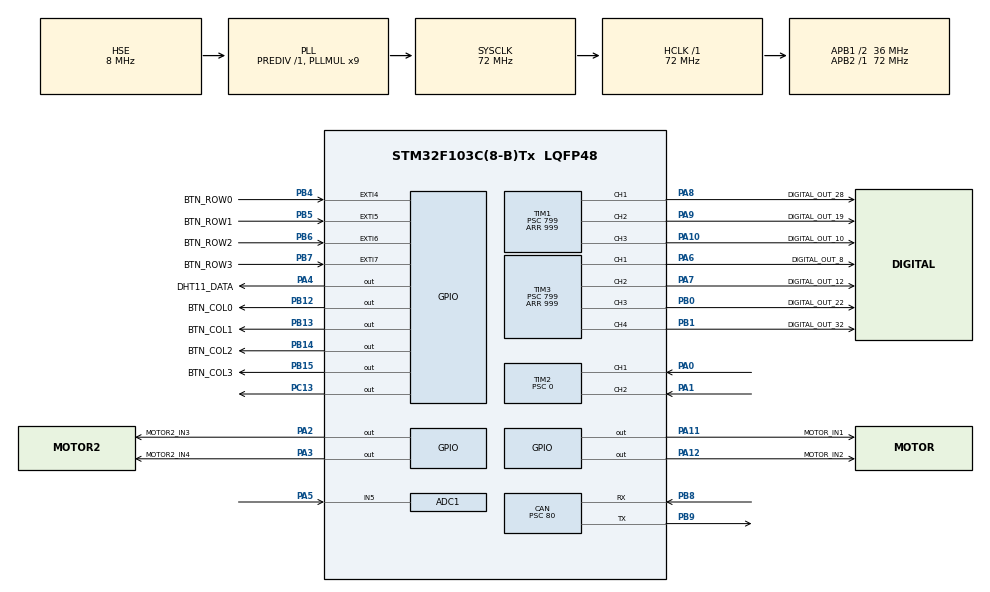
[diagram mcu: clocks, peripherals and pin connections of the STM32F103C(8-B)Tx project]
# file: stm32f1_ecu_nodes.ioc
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ADC1.Channel-3\#ChannelRegularConversion=ADC_CHANNEL_5
ADC1.ContinuousConvMode=ENABLE
ADC1.NbrOfConversionFlag=1
ADC1.Rank-3\#ChannelRegularConversion=1
ADC1.SamplingTime-3\#ChannelRegularConversion=ADC_SAMPLETIME_239CYCLES_5
ADC1.master=1
CAN.ABOM=DISABLE
CAN.BS1=CAN_BS1_5TQ
CAN.BS2=CAN_BS2_3TQ
CAN.CalculateBaudRate=50000
CAN.CalculateTimeBit=20000
CAN.CalculateTimeQuantum=2222.222222222222
CAN.Mode=CAN_MODE_NORMAL
CAN.NART=ENABLE
CAN.Prescaler=80
Dma.ADC1.0.Direction=DMA_PERIPH_TO_MEMORY
Dma.ADC1.0.Instance=DMA1_Channel1
Dma.ADC1.0.MemDataAlignment=DMA_MDATAALIGN_HALFWORD
Dma.ADC1.0.MemInc=DMA_MINC_ENABLE
Dma.ADC1.0.Mode=DMA_CIRCULAR
Dma.ADC1.0.PeriphDataAlignment=DMA_PDATAALIGN_HALFWORD
Dma.ADC1.0.PeriphInc=DMA_PINC_DISABLE
Dma.ADC1.0.Priority=DMA_PRIORITY_LOW
Dma.Request0=ADC1
FREERTOS.Tasks01=CANRxHandlerTask,24,128,CANRxHandler,Default,NULL,Dynamic,NULL,NULL;CANTxHandlerTask,24,128,CANTxHandler,Default,NULL,Dynamic,NULL,NULL
FREERTOS.configMAX_TASK_NAME_LEN=32
FREERTOS.configTOTAL_HEAP_SIZE=10000
FREERTOS.configUSE_MALLOC_FAILED_HOOK=1
Mcu.Family=STM32F1
Mcu.Name=STM32F103C(8-B)Tx
Mcu.Package=LQFP48
NVIC.DMA1_Channel1_IRQn=true\:5\:0\:false\:false\:true\:true\:false\:true\:true
NVIC.EXTI4_IRQn=true\:5\:0\:false\:false\:true\:true\:true\:true\:true
NVIC.EXTI9_5_IRQn=true\:5\:0\:false\:false\:true\:true\:true\:true\:true
NVIC.PriorityGroup=NVIC_PRIORITYGROUP_4
NVIC.TIM4_IRQn=true\:0\:0\:false\:false\:true\:false\:false\:true\:true
NVIC.TimeBase=TIM4_IRQn
NVIC.TimeBaseIP=TIM4
NVIC.USB_LP_CAN1_RX0_IRQn=true\:5\:0\:false\:false\:true\:true\:true\:true\:true
PA0-WKUP.Signal=S_TIM2_CH1_ETR
PA1.Signal=S_TIM2_CH2
PA10.GPIO_Label=DIGITAL_OUT_10
PA10.Signal=S_TIM1_CH3
PA11.GPIO_Label=MOTOR_IN1
PA11.Signal=GPIO_Output
PA12.GPIO_Label=MOTOR_IN2
PA12.Signal=GPIO_Output
PA13.Mode=Serial_Wire
PA13.Signal=SYS_JTMS-SWDIO
PA14.Mode=Serial_Wire
PA14.Signal=SYS_JTCK-SWCLK
PA2.GPIO_Label=MOTOR2_IN3
PA2.Signal=GPIO_Output
PA3.GPIO_Label=MOTOR2_IN4
PA3.Signal=GPIO_Output
PA4.GPIO_Label=DHT11_DATA
PA4.GPIO_ModeDefaultOutputPP=GPIO_MODE_OUTPUT_OD
PA4.GPIO_PuPd=GPIO_PULLUP
PA4.GPIO_Speed=GPIO_SPEED_FREQ_HIGH
PA4.PinState=GPIO_PIN_SET
PA4.Signal=GPIO_Output
PA5.Signal=ADCx_IN5
PA6.GPIO_Label=DIGITAL_OUT_8
PA6.Signal=S_TIM3_CH1
PA7.GPIO_Label=DIGITAL_OUT_12
PA7.Signal=S_TIM3_CH2
PA8.GPIO_Label=DIGITAL_OUT_28
PA8.Signal=S_TIM1_CH1
PA9.GPIO_Label=DIGITAL_OUT_19
PA9.Signal=S_TIM1_CH2
PB0.GPIO_Label=DIGITAL_OUT_22
PB0.Signal=S_TIM3_CH3
PB1.GPIO_Label=DIGITAL_OUT_32
PB1.Signal=S_TIM3_CH4
PB12.GPIO_Label=BTN_COL0
PB12.Signal=GPIO_Output
PB13.GPIO_Label=BTN_COL1
PB13.Signal=GPIO_Output
PB14.GPIO_Label=BTN_COL2
PB14.Signal=GPIO_Output
PB15.GPIO_Label=BTN_COL3
PB15.Signal=GPIO_Output
PB4.GPIO_Label=BTN_ROW0
PB4.GPIO_ModeDefaultEXTI=GPIO_MODE_IT_FALLING
PB4.GPIO_PuPd=GPIO_PULLUP
PB4.Signal=GPXTI4
PB5.GPIO_Label=BTN_ROW1
PB5.GPIO_ModeDefaultEXTI=GPIO_MODE_IT_FALLING
PB5.GPIO_PuPd=GPIO_PULLUP
PB5.Signal=GPXTI5
PB6.GPIO_Label=BTN_ROW2
PB6.GPIO_ModeDefaultEXTI=GPIO_MODE_IT_FALLING
PB6.GPIO_PuPd=GPIO_PULLUP
PB6.Signal=GPXTI6
PB7.GPIO_Label=BTN_ROW3
PB7.GPIO_ModeDefaultEXTI=GPIO_MODE_IT_FALLING
PB7.GPIO_PuPd=GPIO_PULLUP
PB7.Signal=GPXTI7
PB8.GPIO_PuPd=GPIO_PULLUP
PB8.Mode=CAN_Activate
PB8.Signal=CAN_RX
PB9.Mode=CAN_Activate
PB9.Signal=CAN_TX
PC13-TAMPER-RTC.Signal=GPIO_Output
PD0-OSC_IN.Mode=HSE-External-Oscillator
PD0-OSC_IN.Signal=RCC_OSC_IN
PD1-OSC_OUT.Mode=HSE-External-Oscillator
PD1-OSC_OUT.Signal=RCC_OSC_OUT
ProjectManager.HeapSize=0x200
ProjectManager.StackSize=0x400
ProjectManager.TargetToolchain=STM32CubeIDE
RCC.ADCPresc=RCC_ADCPCLK2_DIV6
RCC.AHBFreq_Value=72000000
RCC.APB1CLKDivider=RCC_HCLK_DIV2
RCC.APB1Freq_Value=36000000
RCC.APB1TimFreq_Value=72000000
RCC.APB2Freq_Value=72000000
RCC.APB2TimFreq_Value=72000000
RCC.HCLKFreq_Value=72000000
RCC.PLLMUL=RCC_PLL_MUL9
RCC.PLLSourceVirtual=RCC_PLLSOURCE_HSE
RCC.SYSCLKFreq_VALUE=72000000
RCC.SYSCLKSource=RCC_SYSCLKSOURCE_PLLCLK
RCC.USBFreq_Value=72000000
SH.ADCx_IN5.0=ADC1_IN5,IN5
SH.S_TIM1_CH1.0=TIM1_CH1,PWM Generation1 CH1
SH.S_TIM1_CH2.0=TIM1_CH2,PWM Generation2 CH2
SH.S_TIM1_CH3.0=TIM1_CH3,PWM Generation3 CH3
SH.S_TIM2_CH1_ETR.0=TIM2_CH1,Encoder_Interface
SH.S_TIM2_CH2.0=TIM2_CH2,Encoder_Interface
SH.S_TIM3_CH1.0=TIM3_CH1,PWM Generation1 CH1
SH.S_TIM3_CH2.0=TIM3_CH2,PWM Generation2 CH2
SH.S_TIM3_CH3.0=TIM3_CH3,PWM Generation3 CH3
SH.S_TIM3_CH4.0=TIM3_CH4,PWM Generation4 CH4
TIM1.Channel-PWM\ Generation1\ CH1=TIM_CHANNEL_1
TIM1.Channel-PWM\ Generation2\ CH2=TIM_CHANNEL_2
TIM1.Channel-PWM\ Generation3\ CH3=TIM_CHANNEL_3
TIM1.Period=999
TIM1.Prescaler=799
TIM2.AutoReloadPreload=TIM_AUTORELOAD_PRELOAD_ENABLE
TIM2.EncoderMode=TIM_ENCODERMODE_TI12
TIM2.Period=65535
TIM2.Prescaler=0
TIM3.Channel-PWM\ Generation1\ CH1=TIM_CHANNEL_1
TIM3.Channel-PWM\ Generation2\ CH2=TIM_CHANNEL_2
TIM3.Channel-PWM\ Generation3\ CH3=TIM_CHANNEL_3
TIM3.Channel-PWM\ Generation4\ CH4=TIM_CHANNEL_4
TIM3.Period=999
TIM3.Prescaler=799
VP_FREERTOS_VS_CMSIS_V2.Mode=CMSIS_V2
VP_SYS_VS_tim4.Mode=TIM4
VP_TIM1_VS_ClockSourceINT.Mode=Internal
VP_TIM3_VS_ClockSourceINT.Mode=Internal
board=custom

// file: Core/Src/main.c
/* USER CODE BEGIN Header */
/**
  ******************************************************************************
  * @file           : main.c
  * @brief          : Main program body
  ******************************************************************************
  * @attention
  *
  * <h2><center>&copy; Copyright (c) 2025 STMicroelectronics.
  * All rights reserved.</center></h2>
  *
  * This software component is licensed by ST under BSD 3-Clause license,
  * the "License"; You may not use this file except in compliance with the
  * License. You may obtain a copy of the License at:
  *                        opensource.org/licenses/BSD-3-Clause
  *
  ******************************************************************************
  */
/* USER CODE END Header */
#include "main.h"
#include "cmsis_os.h"

/* USER CODE BEGIN Includes */
#include "button.h"
#include "can.h"
#include "motor.h"
#include "buzzer.h"
#include <stdbool.h>
#include <string.h>
/* USER CODE END Includes */

ADC_HandleTypeDef hadc1;
DMA_HandleTypeDef hdma_adc1;

CAN_HandleTypeDef hcan;

TIM_HandleTypeDef htim1;
TIM_HandleTypeDef htim2;
TIM_HandleTypeDef htim3;

/* Definitions for CANRxHandlerTask */
osThreadId_t CANRxHandlerTaskHandle;
const osThreadAttr_t CANRxHandlerTask_attributes = {
  .name = "CANRxHandlerTask",
  .stack_size = 128 * 4,
  .priority = (osPriority_t) osPriorityNormal,
};
/* Definitions for CANTxHandlerTask */
osThreadId_t CANTxHandlerTaskHandle;
const osThreadAttr_t CANTxHandlerTask_attributes = {
  .name = "CANTxHandlerTask",
  .stack_size = 128 * 4,
  .priority = (osPriority_t) osPriorityNormal,
};
/* USER CODE BEGIN PV */
uint16_t potentiometer[TEN] = {0};

CAN_Frame canTxQueue[CAN_TX_QUEUE_SIZE];

Motor_Handle dc_motor;
Motor_Handle encoder_motor;
Buzzer_Handle buzzer;

volatile DigitalOutput_Resp_Frame digital_output_data[NUMBER_OF_DIG_OUT_RES_FRAME] = {0};
volatile DigitalInput_Resp_Frame digital_input_data[NUMBER_OF_DIG_IN_RES_FRAME] = {0};
volatile DigitalOutput_Cmd_Frame digital_output_cmd_data[NUMBER_OF_DIG_OUT_CMD_FRAME] = {0};
volatile AnalogInput_Resp_Frame analog_input_data[NUMBER_OF_ANALOG_IN_RES_FRAME] = {0};

CAN_RxFrame can_rx_frame;
/*Rotary Encoder Initial*/
static int32_t encoder_position = 0;
static uint16_t encoder_last_count = 32768;
volatile int32_t shared_encoder_speed = 0;

/* USER CODE END PV */

void SystemClock_Config(void);
static void MX_GPIO_Init(void);
static void MX_DMA_Init(void);
static void MX_CAN_Init(void);
static void MX_ADC1_Init(void);
static void MX_TIM1_Init(void);
static void MX_TIM3_Init(void);
static void MX_TIM2_Init(void);
void CANRxHandler(void *argument);
void CANTxHandler(void *argument);

/* USER CODE BEGIN PFP */
/**
  * @brief  Process Digital Output Commands
  * @param  cmd_data: Pointer to the Digital Output Command Frame
  *                                   containing the commands to process
  * @retval None
  */
void digital_output_process(volatile DigitalOutput_Cmd_Frame *cmd_data);

/* USER CODE END PFP */

/* USER CODE BEGIN 0 */
void HAL_CAN_RxFifo0MsgPendingCallback(CAN_HandleTypeDef *hcan) {
  HAL_CAN_GetRxMessage(hcan, CAN_RX_FIFO0, &can_rx_frame.header, can_rx_frame.data);
  // Process received CAN message
  CAN_process_command(&can_rx_frame, digital_output_cmd_data);
}

/* USER CODE END 0 */

int main(void)
{

  /* MCU Configuration--------------------------------------------------------*/

  /* Reset of all peripherals, Initializes the Flash interface and the Systick. */
  HAL_Init();

  /* Configure the system clock */
  SystemClock_Config();

  /* Initialize all configured peripherals */
  MX_GPIO_Init();
  MX_DMA_Init();
  MX_CAN_Init();
  MX_ADC1_Init();
  MX_TIM1_Init();
  MX_TIM3_Init();
  MX_TIM2_Init();
  /* USER CODE BEGIN 2 */
  HAL_TIM_PWM_Start(&htim1, TIM_CHANNEL_1);
  HAL_TIM_PWM_Start(&htim1, TIM_CHANNEL_2);
  HAL_TIM_PWM_Start(&htim1, TIM_CHANNEL_3);
  HAL_TIM_PWM_Start(&htim3, TIM_CHANNEL_1);
  HAL_TIM_PWM_Start(&htim3, TIM_CHANNEL_2);
  HAL_TIM_PWM_Start(&htim3, TIM_CHANNEL_3);
  HAL_TIM_PWM_Start(&htim3, TIM_CHANNEL_4);
  HAL_TIM_Encoder_Start(&htim2, TIM_CHANNEL_ALL);
  __HAL_TIM_SET_COUNTER(&htim2, 32768);  // Set center position

  Motor_Init(&dc_motor, &htim1, TIM_CHANNEL_1, GPIOA, GPIO_PIN_11, GPIOA, GPIO_PIN_12);
  Motor_SetDirection(&dc_motor, MOTOR_DIR_FORWARD);  // quay thuận
  Motor_Enable(&dc_motor, true);
  Buzzer_Init(&buzzer, &htim3);

  Motor_Init(&encoder_motor, &htim1, TIM_CHANNEL_2,
             GPIOA, MOTOR2_IN3_Pin,   // PA2
             GPIOA, MOTOR2_IN4_Pin);  // PA3
  Motor_SetDirection(&encoder_motor, MOTOR_DIR_FORWARD);
  Motor_Enable(&encoder_motor, true);

  HAL_CAN_Start(&hcan);
  HAL_CAN_ActivateNotification(&hcan, CAN_IT_RX_FIFO0_MSG_PENDING);

  HAL_ADC_Start_DMA(&hadc1, (uint32_t *)potentiometer, TEN);

  /* USER CODE END 2 */

  /* Init scheduler */
  osKernelInitialize();

  /* Create the thread(s) */
  /* creation of CANRxHandlerTask */
  CANRxHandlerTaskHandle = osThreadNew(CANRxHandler, NULL, &CANRxHandlerTask_attributes);

  /* creation of CANTxHandlerTask */
  CANTxHandlerTaskHandle = osThreadNew(CANTxHandler, NULL, &CANTxHandlerTask_attributes);

  /* Start scheduler */
  osKernelStart();

  /* We should never get here as control is now taken by the scheduler */

  /* Infinite loop */
  while (1)
  {

  }
}

void SystemClock_Config(void)
{
  RCC_OscInitTypeDef RCC_OscInitStruct = {0};
  RCC_ClkInitTypeDef RCC_ClkInitStruct = {0};
  RCC_PeriphCLKInitTypeDef PeriphClkInit = {0};

  /** Initializes the RCC Oscillators according to the specified parameters
  * in the RCC_OscInitTypeDef structure.
  */
  RCC_OscInitStruct.OscillatorType = RCC_OSCILLATORTYPE_HSE;
  RCC_OscInitStruct.HSEState = RCC_HSE_ON;
  RCC_OscInitStruct.HSEPredivValue = RCC_HSE_PREDIV_DIV1;
  RCC_OscInitStruct.HSIState = RCC_HSI_ON;
  RCC_OscInitStruct.PLL.PLLState = RCC_PLL_ON;
  RCC_OscInitStruct.PLL.PLLSource = RCC_PLLSOURCE_HSE;
  RCC_OscInitStruct.PLL.PLLMUL = RCC_PLL_MUL9;
  if (HAL_RCC_OscConfig(&RCC_OscInitStruct) != HAL_OK)
  {
    Error_Handler();
  }

  /** Initializes the CPU, AHB and APB buses clocks
  */
  RCC_ClkInitStruct.ClockType = RCC_CLOCKTYPE_HCLK|RCC_CLOCKTYPE_SYSCLK
                              |RCC_CLOCKTYPE_PCLK1|RCC_CLOCKTYPE_PCLK2;
  RCC_ClkInitStruct.SYSCLKSource = RCC_SYSCLKSOURCE_PLLCLK;
  RCC_ClkInitStruct.AHBCLKDivider = RCC_SYSCLK_DIV1;
  RCC_ClkInitStruct.APB1CLKDivider = RCC_HCLK_DIV2;
  RCC_ClkInitStruct.APB2CLKDivider = RCC_HCLK_DIV1;

  if (HAL_RCC_ClockConfig(&RCC_ClkInitStruct, FLASH_LATENCY_2) != HAL_OK)
  {
    Error_Handler();
  }
  PeriphClkInit.PeriphClockSelection = RCC_PERIPHCLK_ADC;
  PeriphClkInit.AdcClockSelection = RCC_ADCPCLK2_DIV6;
  if (HAL_RCCEx_PeriphCLKConfig(&PeriphClkInit) != HAL_OK)
  {
    Error_Handler();
  }
}

static void MX_ADC1_Init(void)
{

  ADC_ChannelConfTypeDef sConfig = {0};

  /** Common config
  */
  hadc1.Instance = ADC1;
  hadc1.Init.ScanConvMode = ADC_SCAN_DISABLE;
  hadc1.Init.ContinuousConvMode = ENABLE;
  hadc1.Init.DiscontinuousConvMode = DISABLE;
  hadc1.Init.ExternalTrigConv = ADC_SOFTWARE_START;
  hadc1.Init.DataAlign = ADC_DATAALIGN_RIGHT;
  hadc1.Init.NbrOfConversion = 1;
  if (HAL_ADC_Init(&hadc1) != HAL_OK)
  {
    Error_Handler();
  }

  /** Configure Regular Channel
  */
  sConfig.Channel = ADC_CHANNEL_5;
  sConfig.Rank = ADC_REGULAR_RANK_1;
  sConfig.SamplingTime = ADC_SAMPLETIME_239CYCLES_5;
  if (HAL_ADC_ConfigChannel(&hadc1, &sConfig) != HAL_OK)
  {
    Error_Handler();
  }

}

static void MX_CAN_Init(void)
{

  hcan.Instance = CAN1;
  hcan.Init.Prescaler = 80;
  hcan.Init.Mode = CAN_MODE_NORMAL;
  hcan.Init.SyncJumpWidth = CAN_SJW_1TQ;
  hcan.Init.TimeSeg1 = CAN_BS1_5TQ;
  hcan.Init.TimeSeg2 = CAN_BS2_3TQ;
  hcan.Init.TimeTriggeredMode = DISABLE;
  hcan.Init.AutoBusOff = DISABLE;
  hcan.Init.AutoWakeUp = DISABLE;
  hcan.Init.AutoRetransmission = ENABLE;
  hcan.Init.ReceiveFifoLocked = DISABLE;
  hcan.Init.TransmitFifoPriority = DISABLE;
  if (HAL_CAN_Init(&hcan) != HAL_OK)
  {
    Error_Handler();
  }
  /* USER CODE BEGIN CAN_Init 2 */
  CAN_FilterTypeDef canfilterconfig;

  canfilterconfig.FilterActivation = CAN_FILTER_ENABLE;
  canfilterconfig.FilterBank = 10;  // anything between 0 to SlaveStartFilterBank
  canfilterconfig.FilterFIFOAssignment = CAN_FILTER_FIFO0;
  canfilterconfig.FilterIdHigh = 0;
  canfilterconfig.FilterIdLow = 0x0000;
  canfilterconfig.FilterMaskIdHigh = 0;
  canfilterconfig.FilterMaskIdLow = 0x0000;
  canfilterconfig.FilterMode = CAN_FILTERMODE_IDMASK;
  canfilterconfig.FilterScale = CAN_FILTERSCALE_32BIT;
  canfilterconfig.SlaveStartFilterBank = 13;  // 13 to 27 are assigned to slave CAN (CAN 2) OR 0 to 12 are assgned to CAN1

  HAL_CAN_ConfigFilter(&hcan, &canfilterconfig);
  /* USER CODE END CAN_Init 2 */

}

static void MX_TIM1_Init(void)
{

  TIM_ClockConfigTypeDef sClockSourceConfig = {0};
  TIM_MasterConfigTypeDef sMasterConfig = {0};
  TIM_OC_InitTypeDef sConfigOC = {0};
  TIM_BreakDeadTimeConfigTypeDef sBreakDeadTimeConfig = {0};

  htim1.Instance = TIM1;
  htim1.Init.Prescaler = 799;
  htim1.Init.CounterMode = TIM_COUNTERMODE_UP;
  htim1.Init.Period = 999;
  htim1.Init.ClockDivision = TIM_CLOCKDIVISION_DIV1;
  htim1.Init.RepetitionCounter = 0;
  htim1.Init.AutoReloadPreload = TIM_AUTORELOAD_PRELOAD_DISABLE;
  if (HAL_TIM_Base_Init(&htim1) != HAL_OK)
  {
    Error_Handler();
  }
  sClockSourceConfig.ClockSource = TIM_CLOCKSOURCE_INTERNAL;
  if (HAL_TIM_ConfigClockSource(&htim1, &sClockSourceConfig) != HAL_OK)
  {
    Error_Handler();
  }
  if (HAL_TIM_PWM_Init(&htim1) != HAL_OK)
  {
    Error_Handler();
  }
  sMasterConfig.MasterOutputTrigger = TIM_TRGO_RESET;
  sMasterConfig.MasterSlaveMode = TIM_MASTERSLAVEMODE_DISABLE;
  if (HAL_TIMEx_MasterConfigSynchronization(&htim1, &sMasterConfig) != HAL_OK)
  {
    Error_Handler();
  }
  sConfigOC.OCMode = TIM_OCMODE_PWM1;
  sConfigOC.Pulse = 0;
  sConfigOC.OCPolarity = TIM_OCPOLARITY_HIGH;
  sConfigOC.OCNPolarity = TIM_OCNPOLARITY_HIGH;
  sConfigOC.OCFastMode = TIM_OCFAST_DISABLE;
  sConfigOC.OCIdleState = TIM_OCIDLESTATE_RESET;
  sConfigOC.OCNIdleState = TIM_OCNIDLESTATE_RESET;
  if (HAL_TIM_PWM_ConfigChannel(&htim1, &sConfigOC, TIM_CHANNEL_1) != HAL_OK)
  {
    Error_Handler();
  }
  if (HAL_TIM_PWM_ConfigChannel(&htim1, &sConfigOC, TIM_CHANNEL_2) != HAL_OK)
  {
    Error_Handler();
  }
  if (HAL_TIM_PWM_ConfigChannel(&htim1, &sConfigOC, TIM_CHANNEL_3) != HAL_OK)
  {
    Error_Handler();
  }
  sBreakDeadTimeConfig.OffStateRunMode = TIM_OSSR_DISABLE;
  sBreakDeadTimeConfig.OffStateIDLEMode = TIM_OSSI_DISABLE;
  sBreakDeadTimeConfig.LockLevel = TIM_LOCKLEVEL_OFF;
  sBreakDeadTimeConfig.DeadTime = 0;
  sBreakDeadTimeConfig.BreakState = TIM_BREAK_DISABLE;
  sBreakDeadTimeConfig.BreakPolarity = TIM_BREAKPOLARITY_HIGH;
  sBreakDeadTimeConfig.AutomaticOutput = TIM_AUTOMATICOUTPUT_DISABLE;
  if (HAL_TIMEx_ConfigBreakDeadTime(&htim1, &sBreakDeadTimeConfig) != HAL_OK)
  {
    Error_Handler();
  }
  HAL_TIM_MspPostInit(&htim1);

}

static void MX_TIM2_Init(void)
{

  TIM_Encoder_InitTypeDef sConfig = {0};
  TIM_MasterConfigTypeDef sMasterConfig = {0};

  htim2.Instance = TIM2;
  htim2.Init.Prescaler = 0;
  htim2.Init.CounterMode = TIM_COUNTERMODE_UP;
  htim2.Init.Period = 65535;
  htim2.Init.ClockDivision = TIM_CLOCKDIVISION_DIV1;
  htim2.Init.AutoReloadPreload = TIM_AUTORELOAD_PRELOAD_ENABLE;
  sConfig.EncoderMode = TIM_ENCODERMODE_TI12;
  sConfig.IC1Polarity = TIM_ICPOLARITY_RISING;
  sConfig.IC1Selection = TIM_ICSELECTION_DIRECTTI;
  sConfig.IC1Prescaler = TIM_ICPSC_DIV1;
  sConfig.IC1Filter = 0;
  sConfig.IC2Polarity = TIM_ICPOLARITY_RISING;
  sConfig.IC2Selection = TIM_ICSELECTION_DIRECTTI;
  sConfig.IC2Prescaler = TIM_ICPSC_DIV1;
  sConfig.IC2Filter = 0;
  if (HAL_TIM_Encoder_Init(&htim2, &sConfig) != HAL_OK)
  {
    Error_Handler();
  }
  sMasterConfig.MasterOutputTrigger = TIM_TRGO_RESET;
  sMasterConfig.MasterSlaveMode = TIM_MASTERSLAVEMODE_DISABLE;
  if (HAL_TIMEx_MasterConfigSynchronization(&htim2, &sMasterConfig) != HAL_OK)
  {
    Error_Handler();
  }

}

static void MX_TIM3_Init(void)
{

  TIM_ClockConfigTypeDef sClockSourceConfig = {0};
  TIM_MasterConfigTypeDef sMasterConfig = {0};
  TIM_OC_InitTypeDef sConfigOC = {0};

  htim3.Instance = TIM3;
  htim3.Init.Prescaler = 799;
  htim3.Init.CounterMode = TIM_COUNTERMODE_UP;
  htim3.Init.Period = 999;
  htim3.Init.ClockDivision = TIM_CLOCKDIVISION_DIV1;
  htim3.Init.AutoReloadPreload = TIM_AUTORELOAD_PRELOAD_DISABLE;
  if (HAL_TIM_Base_Init(&htim3) != HAL_OK)
  {
    Error_Handler();
  }
  sClockSourceConfig.ClockSource = TIM_CLOCKSOURCE_INTERNAL;
  if (HAL_TIM_ConfigClockSource(&htim3, &sClockSourceConfig) != HAL_OK)
  {
    Error_Handler();
  }
  if (HAL_TIM_PWM_Init(&htim3) != HAL_OK)
  {
    Error_Handler();
  }
  sMasterConfig.MasterOutputTrigger = TIM_TRGO_RESET;
  sMasterConfig.MasterSlaveMode = TIM_MASTERSLAVEMODE_DISABLE;
  if (HAL_TIMEx_MasterConfigSynchronization(&htim3, &sMasterConfig) != HAL_OK)
  {
    Error_Handler();
  }
  sConfigOC.OCMode = TIM_OCMODE_PWM1;
  sConfigOC.Pulse = 0;
  sConfigOC.OCPolarity = TIM_OCPOLARITY_HIGH;
  sConfigOC.OCFastMode = TIM_OCFAST_DISABLE;
  if (HAL_TIM_PWM_ConfigChannel(&htim3, &sConfigOC, TIM_CHANNEL_1) != HAL_OK)
  {
    Error_Handler();
  }
  if (HAL_TIM_PWM_ConfigChannel(&htim3, &sConfigOC, TIM_CHANNEL_2) != HAL_OK)
  {
    Error_Handler();
  }
  if (HAL_TIM_PWM_ConfigChannel(&htim3, &sConfigOC, TIM_CHANNEL_3) != HAL_OK)
  {
    Error_Handler();
  }
  if (HAL_TIM_PWM_ConfigChannel(&htim3, &sConfigOC, TIM_CHANNEL_4) != HAL_OK)
  {
    Error_Handler();
  }
  HAL_TIM_MspPostInit(&htim3);

}

static void MX_DMA_Init(void)
{

  /* DMA controller clock enable */
  __HAL_RCC_DMA1_CLK_ENABLE();

  /* DMA interrupt init */
  /* DMA1_Channel1_IRQn interrupt configuration */
  HAL_NVIC_SetPriority(DMA1_Channel1_IRQn, 5, 0);
  HAL_NVIC_EnableIRQ(DMA1_Channel1_IRQn);

}

static void MX_GPIO_Init(void)
{
  GPIO_InitTypeDef GPIO_InitStruct = {0};

  /* GPIO Ports Clock Enable */
  __HAL_RCC_GPIOC_CLK_ENABLE();
  __HAL_RCC_GPIOD_CLK_ENABLE();
  __HAL_RCC_GPIOA_CLK_ENABLE();
  __HAL_RCC_GPIOB_CLK_ENABLE();

  /*Configure GPIO pin Output Level */
  HAL_GPIO_WritePin(GPIOC, GPIO_PIN_13, GPIO_PIN_RESET);

  /*Configure GPIO pin Output Level */
  HAL_GPIO_WritePin(GPIOA, MOTOR2_IN3_Pin|MOTOR2_IN4_Pin|MOTOR_IN1_Pin|MOTOR_IN2_Pin, GPIO_PIN_RESET);

  /*Configure GPIO pin Output Level */
  HAL_GPIO_WritePin(DHT11_DATA_GPIO_Port, DHT11_DATA_Pin, GPIO_PIN_SET);

  /*Configure GPIO pin Output Level */
  HAL_GPIO_WritePin(GPIOB, BTN_COL0_Pin|BTN_COL1_Pin|BTN_COL2_Pin|BTN_COL3_Pin, GPIO_PIN_RESET);

  /*Configure GPIO pin : PC13 */
  GPIO_InitStruct.Pin = GPIO_PIN_13;
  GPIO_InitStruct.Mode = GPIO_MODE_OUTPUT_PP;
  GPIO_InitStruct.Pull = GPIO_NOPULL;
  GPIO_InitStruct.Speed = GPIO_SPEED_FREQ_LOW;
  HAL_GPIO_Init(GPIOC, &GPIO_InitStruct);

  /*Configure GPIO pins : MOTOR2_IN3_Pin MOTOR2_IN4_Pin MOTOR_IN1_Pin MOTOR_IN2_Pin */
  GPIO_InitStruct.Pin = MOTOR2_IN3_Pin|MOTOR2_IN4_Pin|MOTOR_IN1_Pin|MOTOR_IN2_Pin;
  GPIO_InitStruct.Mode = GPIO_MODE_OUTPUT_PP;
  GPIO_InitStruct.Pull = GPIO_NOPULL;
  GPIO_InitStruct.Speed = GPIO_SPEED_FREQ_LOW;
  HAL_GPIO_Init(GPIOA, &GPIO_InitStruct);

  /*Configure GPIO pin : DHT11_DATA_Pin */
  GPIO_InitStruct.Pin = DHT11_DATA_Pin;
  GPIO_InitStruct.Mode = GPIO_MODE_OUTPUT_OD;
  GPIO_InitStruct.Pull = GPIO_PULLUP;
  GPIO_InitStruct.Speed = GPIO_SPEED_FREQ_HIGH;
  HAL_GPIO_Init(DHT11_DATA_GPIO_Port, &GPIO_InitStruct);

  /*Configure GPIO pins : BTN_COL0_Pin BTN_COL1_Pin BTN_COL2_Pin BTN_COL3_Pin */
  GPIO_InitStruct.Pin = BTN_COL0_Pin|BTN_COL1_Pin|BTN_COL2_Pin|BTN_COL3_Pin;
  GPIO_InitStruct.Mode = GPIO_MODE_OUTPUT_PP;
  GPIO_InitStruct.Pull = GPIO_NOPULL;
  GPIO_InitStruct.Speed = GPIO_SPEED_FREQ_LOW;
  HAL_GPIO_Init(GPIOB, &GPIO_InitStruct);

  /*Configure GPIO pins : BTN_ROW0_Pin BTN_ROW1_Pin BTN_ROW2_Pin BTN_ROW3_Pin */
  GPIO_InitStruct.Pin = BTN_ROW0_Pin|BTN_ROW1_Pin|BTN_ROW2_Pin|BTN_ROW3_Pin;
  GPIO_InitStruct.Mode = GPIO_MODE_IT_FALLING;
  GPIO_InitStruct.Pull = GPIO_PULLUP;
  HAL_GPIO_Init(GPIOB, &GPIO_InitStruct);

  /* EXTI interrupt init*/
  HAL_NVIC_SetPriority(EXTI4_IRQn, 5, 0);
  HAL_NVIC_EnableIRQ(EXTI4_IRQn);

  HAL_NVIC_SetPriority(EXTI9_5_IRQn, 5, 0);
  HAL_NVIC_EnableIRQ(EXTI9_5_IRQn);

}

/* USER CODE BEGIN 4 */
/**
  * @brief  Process Digital Output Commands
  * @param  cmd_data: Pointer to the Digital Output Command Frame
  *                                   containing the commands to process
  * @retval None
  */
void digital_output_process(volatile DigitalOutput_Cmd_Frame *cmd_data) {

  // Digital Output 10
  if (cmd_data[1].signal[1].switchCmd == 1) {
    TIM1->CCR3 = (cmd_data[1].signal[1].dutyCycle * 10U) - 1U;
  } else {
    TIM1->CCR3 = 0;
  }
/*
  // Digital Output 19
  if (cmd_data[2].signal[2].switchCmd == 1) {
    TIM1->CCR2 = (cmd_data[2].signal[2].dutyCycle * 10U) - 1U;
  } else {
    TIM1->CCR2 = 0;
  }
  */

  //  XI NHAN TRÁI (Output 8)
    if (cmd_data[1].signal[0].switchCmd == 1) {
        // Duty > 0 → BẬT, Duty = 0 → TẮT
        if (cmd_data[1].signal[0].dutyCycle > 0) {
            TIM3->CCR1 = 999;  // Full brightness
        } else {
            TIM3->CCR1 = 0;    // OFF
        }
    } else {
        TIM3->CCR1 = 0;
    }

    // XI NHAN PHẢI (Output 12)
    if (cmd_data[1].signal[4].switchCmd == 1) {
        if (cmd_data[1].signal[4].dutyCycle > 0) {
            TIM3->CCR2 = 999;
        } else {
            TIM3->CCR2 = 0;
        }
    } else {
        TIM3->CCR2 = 0;
    }
/*
  if (cmd_data[3].signal[3].switchCmd == 1) {
      Motor_Enable(&dc_motor, true);
      // dutyCycle 0-100: map sang direction
      if (cmd_data[3].signal[3].dutyCycle <= 40) {
        Motor_SetDirection(&dc_motor, MOTOR_DIR_BACKWARD);
      } else if (cmd_data[3].signal[3].dutyCycle <= 60) {
        Motor_SetDirection(&dc_motor, MOTOR_DIR_STOP);
      } else {
        Motor_SetDirection(&dc_motor, MOTOR_DIR_FORWARD);
      }
    } else {
      Motor_Enable(&dc_motor, false);
    }
    */

  // Digital Output 22
    if (cmd_data[2].signal[6].switchCmd == 1) {
        if (cmd_data[2].signal[6].dutyCycle > 0) {
          TIM3->CCR4 = 999;  // LED đỏ sáng full brightness
        } else {
          TIM3->CCR4 = 0;    // LED đỏ tắt
        }
      } else {
        TIM3->CCR4 = 0;
      }

}
/**
  * @brief  Process Rotary Encoder and calculate speed
  * @retval Speed value (0-250)
  */
int32_t process_encoder(void) {
    uint16_t current_count = __HAL_TIM_GET_COUNTER(&htim2);
    int16_t delta = (int16_t)(current_count - encoder_last_count);

    encoder_position += delta;
    encoder_last_count = current_count;

    // Clamp position
    if (encoder_position < 0) encoder_position = 0;
    if (encoder_position > 500) encoder_position = 500;  // ← Giảm max xuống 500

    // Map position to speed (0-250)
    int32_t speed = encoder_position / 2;  // ← ĐỔI TỪ /4 THÀNH /2

    return speed;
}
/* USER CODE END 4 */

void CANRxHandler(void *argument)
{
  /* USER CODE BEGIN 5 */

  btn_matrix_init();
 // TIM3->CCR1 = 999; // Initialize PWM duty cycle to 999
  uint32_t avg_pot = 0;
  static bool car_lights_on = false;
  static uint32_t debug_counter = 0;

  /* Infinite loop */
  for(;;)
  {
    // Process button matrix input
    btn_matrix_process(digital_input_data);
    static uint8_t prev_s11_state = 0;
        uint8_t s11_state = btn_state[20];  // ← button_s11 = index 20

        if (s11_state == 1 && prev_s11_state == 0) {
            // S11 vừa được nhấn
            car_lights_on = !car_lights_on;

            // Điều khiển LED trắng (Digital Output 32 - PB1 - TIM3_CH4)
            if (car_lights_on) {
                TIM3->CCR4 = 999;  // LED đỏ ON (full brightness)
            } else {
                TIM3->CCR4 = 0;    // LED đỏ OFF
            }
            GPIOC->ODR ^= GPIO_PIN_13;
        }
        prev_s11_state = s11_state;

    // Process Digital Output Commands immediately
    digital_output_process(digital_output_cmd_data);
    avg_pot = 0;
        for (uint8_t i = 0; i < TEN; i++) {
          avg_pot += potentiometer[i];
        }
        avg_pot /= TEN;
        Motor_UpdateFromADC(&dc_motor, avg_pot);

        int32_t encoder_speed = process_encoder();
                shared_encoder_speed = encoder_speed;  // ← LƯU VÀO BIẾN SHARED
                debug_counter++;
                       if (debug_counter >= 50) {  // Mỗi 500ms
                           debug_counter = 0;

                           // Nếu encoder > 0 → Toggle LED
                           if (encoder_speed > 0) {
                               GPIOC->ODR ^= GPIO_PIN_13;  // Toggle LED
                           }

                           // Có thể print qua SWO nếu có:
                           // printf("Encoder: pos=%ld, speed=%ld\n", encoder_position, encoder_speed);
                       }

                uint16_t motor_speed = (encoder_speed * 999UL) / 250UL;

                // Force enable + direction
                encoder_motor.enabled = true;
                encoder_motor.direction = MOTOR_DIR_FORWARD;

                // Set PWM trực tiếp
                if (motor_speed > 0) {
                    TIM1->CCR2 = motor_speed;
                    HAL_GPIO_WritePin(GPIOA, GPIO_PIN_2, GPIO_PIN_RESET);  // IN3 = LOW
                    HAL_GPIO_WritePin(GPIOA, GPIO_PIN_3, GPIO_PIN_SET);    // IN4 = HIGH
                } else {
                    TIM1->CCR2 = 0;
                }

        Buzzer_Update(&buzzer);
        osDelay(10);
  }
  /* USER CODE END 5 */
}

void CANTxHandler(void *argument)
{
  /* USER CODE BEGIN CANTxHandler */
  DHT11_Init();
  CAN_Frame tx_frame;
  uint32_t potentiometer_value = 0;
  static uint32_t dht11_read_counter = 0;
  static uint32_t frame_send_counter = 0;
  DHT11_Data dht11_data;

  // Initialize default values for Digital Output Response
  for (uint8_t i = 0; i < NUMBER_OF_DIG_OUT_RES_FRAME; i++) {
    for (uint8_t j = 0; j < DIGITAL_OUT_RESP_SIGNAL_PER_FRAME; j++) {
      digital_output_data[i].signal[j].statusPS = 0;
      digital_output_data[i].signal[j].elDiagnosis = 0;
      digital_output_data[i].signal[j].currentFB = 5;
    }
  }

  // Initialize Digital Input Response Frame
  for (uint8_t i = 0; i < NUMBER_OF_DIG_IN_RES_FRAME; i++) {
    for (uint8_t j = 0; j < DIGITAL_IN_RESP_SIGNAL_PER_FRAME; j++) {
      digital_input_data[i].signal[j].inputStatus = 0;
      digital_input_data[i].signal[j].freshness = 0;
      digital_input_data[i].signal[j].elDiagnosis = 0;
    }
  }

  /* Infinite loop */
  for(;;)
  {
      potentiometer_value = 0;
      frame_send_counter++;

      // ========== ĐỌC DHT11 MỖI 2 GIÂY (40 x 100ms) ==========
      dht11_read_counter++;
      if (dht11_read_counter >= 20) { // 20 x 100ms = 2 giây
          dht11_read_counter = 0;

          DHT11_Status status = DHT11_Read(&dht11_data);
          if (status == DHT11_OK) {
              float temp = DHT11_GetTemperature();
              uint16_t temp_adc = (uint16_t)((temp / 50.0f) * 4095.0f);
              analog_input_data[0].signal[2].analogValue = temp_adc;
              analog_input_data[0].signal[2].elDiagnosis = 0;

              float humidity = DHT11_GetHumidity();
              uint16_t humidity_adc = (uint16_t)((humidity / 100.0f) * 4095.0f);
              analog_input_data[0].signal[3].analogValue = humidity_adc;
              analog_input_data[0].signal[3].elDiagnosis = 0;

              /* BUZZER ALARM CONTROL*/
              if (temp > TEMP_ALARM_THRESHOLD) {
                  // (> 50°C) → BẬT BUZZER
                  if (!Buzzer_IsActive(&buzzer)) {
                      Buzzer_Start(&buzzer);
                      // Toggle LED PC13 để báo hiệu alarm
                      GPIOC->ODR |= GPIO_PIN_13;
                  }
              } else {
                  // Nhiệt độ bình thường → TẮT BUZZER
                  if (Buzzer_IsActive(&buzzer)) {
                      Buzzer_Stop(&buzzer);
                      // Tắt LED PC13
                      GPIOC->ODR &= ~GPIO_PIN_13;
                  }
              }
              /* end BUZZER ALARM CONTROL*/

          } else {
              analog_input_data[0].signal[2].elDiagnosis = 1;
              analog_input_data[0].signal[3].elDiagnosis = 1;
          }
      }

      // ========== CẬP NHẬT POTENTIOMETER ==========
      for (uint8_t i = 0; i < TEN; i++) {
          potentiometer_value += potentiometer[i];
      }
      potentiometer_value /= TEN;
      analog_input_data[0].signal[0].analogValue = potentiometer_value;

      int32_t encoder_speed = shared_encoder_speed;  // ĐỌC TỪ BIẾN SHARED
      uint16_t encoder_adc = (uint16_t)((encoder_speed * 4095.0f) / 250.0f);
      analog_input_data[0].signal[1].analogValue = encoder_adc;
      analog_input_data[0].signal[1].elDiagnosis = 0; // không có lỗi

      // ========== FRESHNESS UPDATE ==========
      for (uint8_t i = 0; i < NUMBER_OF_DIG_IN_RES_FRAME; i++) {
          for (uint8_t j = 0; j < DIGITAL_IN_RESP_SIGNAL_PER_FRAME; j++) {
              digital_input_data[i].signal[j].freshness++;
          }
      }

      // ========== GỬI FRAMES THEO CHU KỲ ROUND-ROBIN ==========
      uint8_t group = frame_send_counter % 4;
      bool send_success = true;

      switch(group) {
          case 0:
              for (uint8_t i = 0; i < 5 && i < NUMBER_OF_DIG_OUT_RES_FRAME; i++) {
                  tx_frame.id = DIGITAL_OUTPUT_RES_ID(i);
                  memcpy(tx_frame.data, (uint8_t*)&digital_output_data[i].sdu,
                         sizeof(digital_output_data[i].sdu));
                  if (!CAN_EnqueueTxFrame(&tx_frame, canTxQueue)) {
                      send_success = false;
                      break;
                  }
              }
              break;

          case 1:
              for (uint8_t i = 5; i < NUMBER_OF_DIG_OUT_RES_FRAME; i++) {
                  tx_frame.id = DIGITAL_OUTPUT_RES_ID(i);
                  memcpy(tx_frame.data, (uint8_t*)&digital_output_data[i].sdu,
                         sizeof(digital_output_data[i].sdu));
                  if (!CAN_EnqueueTxFrame(&tx_frame, canTxQueue)) {
                      send_success = false;
                      break;
                  }
              }
              for (uint8_t i = 0; i < 2 && i < NUMBER_OF_DIG_IN_RES_FRAME && send_success; i++){
                  tx_frame.id = DIGITAL_INPUT_RES_ID(i);
                  memcpy(tx_frame.data, (uint8_t*)&digital_input_data[i].sdu,
                         sizeof(digital_input_data[i].sdu));
                  if (!CAN_EnqueueTxFrame(&tx_frame, canTxQueue)) {
                      send_success = false;
                      break;
                  }
              }
              break;

          case 2:
              for (uint8_t i = 2; i < NUMBER_OF_DIG_IN_RES_FRAME; i++){
                  tx_frame.id = DIGITAL_INPUT_RES_ID(i);
                  memcpy(tx_frame.data, (uint8_t*)&digital_input_data[i].sdu,
                         sizeof(digital_input_data[i].sdu));
                  if (!CAN_EnqueueTxFrame(&tx_frame, canTxQueue)) {
                      send_success = false;
                      break;
                  }
              }
              for (uint8_t i = 0; i < 3 && i < NUMBER_OF_ANALOG_IN_RES_FRAME && send_success; i++) {
                  tx_frame.id = ANALOG_INPUT_RES_ID(i);
                  memcpy(tx_frame.data, (uint8_t*)&analog_input_data[i].sdu,
                         sizeof(analog_input_data[i].sdu));
                  if (!CAN_EnqueueTxFrame(&tx_frame, canTxQueue)) {
                      send_success = false;
                      break;
                  }
              }
              break;

          case 3:
              for (uint8_t i = 3; i < NUMBER_OF_ANALOG_IN_RES_FRAME; i++) {
                  tx_frame.id = ANALOG_INPUT_RES_ID(i);
                  memcpy(tx_frame.data, (uint8_t*)&analog_input_data[i].sdu,
                         sizeof(analog_input_data[i].sdu));
                  if (!CAN_EnqueueTxFrame(&tx_frame, canTxQueue)) {
                      send_success = false;
                      break;
                  }
              }
              break;
      }

      if (send_success) {
          CAN_send(&hcan, canTxQueue);
      }

      osDelay(100);
  }
  /* USER CODE END CANTxHandler */
}

void HAL_TIM_PeriodElapsedCallback(TIM_HandleTypeDef *htim)
{
  if (htim->Instance == TIM4) {
    HAL_IncTick();
  }
}

void Error_Handler(void)
{
  __disable_irq();
  while (1)
  {
  }
}

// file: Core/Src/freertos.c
/* USER CODE BEGIN Header */
/**
  ******************************************************************************
  * File Name          : freertos.c
  * Description        : Code for freertos applications
  ******************************************************************************
  * @attention
  *
  * <h2><center>&copy; Copyright (c) 2025 STMicroelectronics.
  * All rights reserved.</center></h2>
  *
  * This software component is licensed by ST under Ultimate Liberty license
  * SLA0044, the "License"; You may not use this file except in compliance with
  * the License. You may obtain a copy of the License at:
  *                             www.st.com/SLA0044
  *
  ******************************************************************************
  */
/* USER CODE END Header */

#include "FreeRTOS.h"
#include "task.h"
#include "main.h"

/* Hook prototypes */
void vApplicationMallocFailedHook(void);

/* USER CODE BEGIN 5 */
void vApplicationMallocFailedHook(void)
{
   /* vApplicationMallocFailedHook() will only be called if
   configUSE_MALLOC_FAILED_HOOK is set to 1 in FreeRTOSConfig.h. It is a hook
   function that will get called if a call to pvPortMalloc() fails.
   pvPortMalloc() is called internally by the kernel whenever a task, queue,
   timer or semaphore is created. It is also called by various parts of the
   demo application. If heap_1.c or heap_2.c are used, then the size of the
   heap available to pvPortMalloc() is defined by configTOTAL_HEAP_SIZE in
   FreeRTOSConfig.h, and the xPortGetFreeHeapSize() API function can be used
   to query the size of free heap space that remains (although it does not
   provide information on how the remaining heap might be fragmented). */
}
/* USER CODE END 5 */
